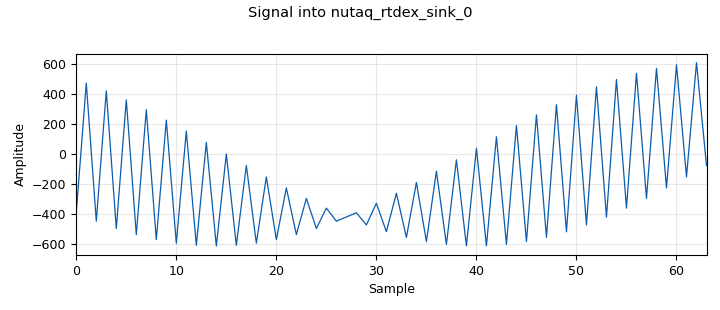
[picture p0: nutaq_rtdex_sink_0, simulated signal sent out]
<?xml version='1.0' encoding='utf-8'?>
<?grc format='1' created='3.7.8'?>
<flow_graph>
<block>
<key>options</key>
<param><key>id</key><value>wifi_tx_rx</value></param>
<param><key>category</key><value>Custom</value></param>
<param><key>generate_options</key><value>qt_gui</value></param>
<param><key>realtime_scheduling</key><value>1</value></param>
</block>
<block>
<key>variable</key>
<param><key>id</key><value>decimation</value></param>
<param><key>value</key><value>40</value></param>
</block>
<block>
<key>variable</key>
<param><key>id</key><value>freq</value></param>
<param><key>value</key><value>943e6</value></param>
</block>
<block>
<key>variable_qtgui_range</key>
<param><key>id</key><value>freq_sin</value></param>
<param><key>value</key><value>1000</value></param>
<param><key>orient</key><value>Qt.Horizontal</value></param>
<param><key>start</key><value>-2.5e5</value></param>
<param><key>step</key><value>500</value></param>
<param><key>stop</key><value>2.5e5</value></param>
</block>
<block>
<key>variable_slider</key>
<param><key>id</key><value>freq_sin</value></param>
<param><key>converver</key><value>float_converter</value></param>
<param><key>value</key><value>5000</value></param>
<param><key>_enabled</key><value>0</value></param>
<param><key>label</key><value>freq_sin</value></param>
<param><key>max</key><value>250e3</value></param>
<param><key>min</key><value>-250e3</value></param>
<param><key>num_steps</key><value>100</value></param>
<param><key>style</key><value>wx.SL_HORIZONTAL</value></param>
</block>
<block>
<key>variable</key>
<param><key>id</key><value>out_buf_size</value></param>
<param><key>value</key><value>96000</value></param>
</block>
<block>
<key>variable_qtgui_range</key>
<param><key>id</key><value>pdu_length</value></param>
<param><key>value</key><value>1000</value></param>
<param><key>orient</key><value>Qt.Horizontal</value></param>
<param><key>start</key><value>10</value></param>
<param><key>step</key><value>1</value></param>
<param><key>stop</key><value>1500</value></param>
<param><key>rangeType</key><value>int</value></param>
</block>
<block>
<key>variable_slider</key>
<param><key>id</key><value>pdu_length</value></param>
<param><key>converver</key><value>float_converter</value></param>
<param><key>value</key><value>500</value></param>
<param><key>_enabled</key><value>0</value></param>
<param><key>label</key><value>pdu_length</value></param>
<param><key>max</key><value>1500</value></param>
<param><key>min</key><value>200</value></param>
<param><key>num_steps</key><value>100</value></param>
<param><key>style</key><value>wx.SL_HORIZONTAL</value></param>
</block>
<block>
<key>variable_qtgui_range</key>
<param><key>id</key><value>period</value></param>
<param><key>value</key><value>50</value></param>
<param><key>orient</key><value>Qt.Horizontal</value></param>
<param><key>start</key><value>1</value></param>
<param><key>step</key><value>1</value></param>
<param><key>stop</key><value>10000</value></param>
</block>
<block>
<key>variable_slider</key>
<param><key>id</key><value>period</value></param>
<param><key>converver</key><value>float_converter</value></param>
<param><key>value</key><value>1000</value></param>
<param><key>_enabled</key><value>0</value></param>
<param><key>label</key><value>period</value></param>
<param><key>max</key><value>10000</value></param>
<param><key>min</key><value>20</value></param>
<param><key>num_steps</key><value>100</value></param>
<param><key>style</key><value>wx.SL_HORIZONTAL</value></param>
</block>
<block>
<key>variable</key>
<param><key>id</key><value>samp_rate</value></param>
<param><key>value</key><value>5e5</value></param>
</block>
<block>
<key>variable</key>
<param><key>id</key><value>sync_length</value></param>
<param><key>value</key><value>320</value></param>
</block>
<block>
<key>variable</key>
<param><key>id</key><value>threshold</value></param>
<param><key>value</key><value>1000</value></param>
</block>
<block>
<key>variable</key>
<param><key>id</key><value>window_size</value></param>
<param><key>value</key><value>48</value></param>
</block>
<block>
<key>COWN_resta</key>
<param><key>id</key><value>COWN_resta_0</value></param>
<param><key>affinity</key><value>1</value></param>
</block>
<block>
<key>COWN_syncher2</key>
<param><key>id</key><value>COWN_syncher2_0</value></param>
<param><key>affinity</key><value>1</value></param>
</block>
<block>
<key>COWN_tag_generator</key>
<param><key>id</key><value>COWN_tag_generator_0</value></param>
<param><key>_enabled</key><value>0</value></param>
</block>
<block>
<key>analog_noise_source_x</key>
<param><key>id</key><value>analog_noise_source_x_0</value></param>
<param><key>amp</key><value>1e-7</value></param>
<param><key>_enabled</key><value>0</value></param>
<param><key>minoutbuf</key><value>2**15</value></param>
<param><key>noise_type</key><value>analog.GR_GAUSSIAN</value></param>
<param><key>type</key><value>complex</value></param>
<param><key>seed</key><value>56547</value></param>
</block>
<block>
<key>analog_sig_source_x</key>
<param><key>id</key><value>analog_sig_source_x_0</value></param>
<param><key>amp</key><value>0.5</value></param>
<param><key>affinity</key><value>7</value></param>
<param><key>_enabled</key><value>0</value></param>
<param><key>freq</key><value>freq_sin</value></param>
<param><key>offset</key><value>0</value></param>
<param><key>type</key><value>complex</value></param>
<param><key>samp_rate</key><value>samp_rate</value></param>
<param><key>waveform</key><value>analog.GR_COS_WAVE</value></param>
</block>
<block>
<key>analog_sig_source_x</key>
<param><key>id</key><value>analog_sig_source_x_1</value></param>
<param><key>amp</key><value>0.3</value></param>
<param><key>affinity</key><value>3</value></param>
<param><key>freq</key><value>10000</value></param>
<param><key>offset</key><value>0</value></param>
<param><key>type</key><value>complex</value></param>
<param><key>samp_rate</key><value>samp_rate</value></param>
<param><key>waveform</key><value>analog.GR_COS_WAVE</value></param>
</block>
<block>
<key>blocks_add_xx</key>
<param><key>id</key><value>blocks_add_xx_0</value></param>
<param><key>_enabled</key><value>0</value></param>
<param><key>type</key><value>complex</value></param>
</block>
<block>
<key>blocks_add_xx</key>
<param><key>id</key><value>blocks_add_xx_1</value></param>
<param><key>_enabled</key><value>0</value></param>
<param><key>type</key><value>complex</value></param>
<param><key>minoutbuf</key><value>2**15</value></param>
</block>
<block>
<key>blocks_complex_to_float</key>
<param><key>id</key><value>blocks_complex_to_float_0</value></param>
<param><key>affinity</key><value>3</value></param>
<param><key>minoutbuf</key><value>2**14</value></param>
</block>
<block>
<key>blocks_complex_to_mag</key>
<param><key>id</key><value>blocks_complex_to_mag_0</value></param>
<param><key>affinity</key><value>4</value></param>
<param><key>_enabled</key><value>0</value></param>
<param><key>minoutbuf</key><value>out_buf_size</value></param>
</block>
<block>
<key>blocks_complex_to_mag_squared</key>
<param><key>id</key><value>blocks_complex_to_mag_squared_0</value></param>
<param><key>affinity</key><value>4</value></param>
<param><key>_enabled</key><value>0</value></param>
<param><key>minoutbuf</key><value>out_buf_size</value></param>
</block>
<block>
<key>blocks_conjugate_cc</key>
<param><key>id</key><value>blocks_conjugate_cc_0</value></param>
<param><key>_enabled</key><value>0</value></param>
<param><key>minoutbuf</key><value>out_buf_size</value></param>
</block>
<block>
<key>blocks_deinterleave</key>
<param><key>id</key><value>blocks_deinterleave_0</value></param>
<param><key>affinity</key><value>1</value></param>
<param><key>type</key><value>int</value></param>
<param><key>minoutbuf</key><value>2**15</value></param>
<param><key>num_streams</key><value>4</value></param>
</block>
<block>
<key>blocks_delay</key>
<param><key>id</key><value>blocks_delay_0</value></param>
<param><key>affinity</key><value>4</value></param>
<param><key>delay</key><value>sync_length</value></param>
<param><key>_enabled</key><value>0</value></param>
<param><key>minoutbuf</key><value>out_buf_size</value></param>
<param><key>type</key><value>complex</value></param>
</block>
<block>
<key>blocks_delay</key>
<param><key>id</key><value>blocks_delay_0_0</value></param>
<param><key>affinity</key><value>4</value></param>
<param><key>delay</key><value>16</value></param>
<param><key>_enabled</key><value>0</value></param>
<param><key>minoutbuf</key><value>out_buf_size</value></param>
<param><key>type</key><value>complex</value></param>
</block>
<block>
<key>blocks_divide_xx</key>
<param><key>id</key><value>blocks_divide_xx_0</value></param>
<param><key>affinity</key><value>4</value></param>
<param><key>_enabled</key><value>0</value></param>
<param><key>type</key><value>float</value></param>
<param><key>minoutbuf</key><value>out_buf_size</value></param>
</block>
<block>
<key>blocks_file_sink</key>
<param><key>id</key><value>blocks_file_sink_0</value></param>
<param><key>_enabled</key><value>0</value></param>
<param><key>file</key><value>/home/juan/juan/COWN/waveforms/recorded_ideal_frames_20160114_v2.bin</value></param>
<param><key>type</key><value>complex</value></param>
</block>
<block>
<key>blocks_file_source</key>
<param><key>id</key><value>blocks_file_source_0_0</value></param>
<param><key>affinity</key><value>7</value></param>
<param><key>_enabled</key><value>0</value></param>
<param><key>file</key><value>/home/juan/cognitive/fornutaq/gr-ofdm_80211/examples/waveforms/fmcw_chirp_80pc.bin</value></param>
<param><key>maxoutbuf</key><value>2**19</value></param>
<param><key>minoutbuf</key><value>2**19</value></param>
<param><key>type</key><value>complex</value></param>
<param><key>repeat</key><value>True</value></param>
</block>
<block>
<key>blocks_file_source</key>
<param><key>id</key><value>blocks_file_source_0_1</value></param>
<param><key>_enabled</key><value>0</value></param>
<param><key>file</key><value>/home/juan/juan/COWN/waveforms/test_rerecorded_20151026.bin</value></param>
<param><key>type</key><value>complex</value></param>
<param><key>repeat</key><value>True</value></param>
</block>
<block>
<key>blocks_file_source</key>
<param><key>id</key><value>blocks_file_source_0_1_0</value></param>
<param><key>_enabled</key><value>0</value></param>
<param><key>file</key><value>/home/juan/juan/COWN/waveforms/recorded_ideal_frames_20160114_v2.bin</value></param>
<param><key>minoutbuf</key><value>2**15</value></param>
<param><key>type</key><value>complex</value></param>
<param><key>repeat</key><value>True</value></param>
</block>
<block>
<key>blocks_file_source</key>
<param><key>id</key><value>blocks_file_source_0_1_1</value></param>
<param><key>_enabled</key><value>0</value></param>
<param><key>file</key><value>/home/juan/juan/COWN/waveforms/80211waveform_decim_20151016.bin</value></param>
<param><key>type</key><value>complex</value></param>
<param><key>repeat</key><value>True</value></param>
</block>
<block>
<key>blocks_float_to_complex</key>
<param><key>id</key><value>blocks_float_to_complex_0</value></param>
<param><key>affinity</key><value>2</value></param>
</block>
<block>
<key>blocks_float_to_short</key>
<param><key>id</key><value>blocks_float_to_short_0_0</value></param>
<param><key>affinity</key><value>3</value></param>
<param><key>scale</key><value>2**11-1</value></param>
</block>
<block>
<key>blocks_float_to_short</key>
<param><key>id</key><value>blocks_float_to_short_0_0_0</value></param>
<param><key>affinity</key><value>3</value></param>
<param><key>scale</key><value>2**11-1</value></param>
</block>
<block>
<key>blocks_interleave</key>
<param><key>id</key><value>blocks_interleave_0</value></param>
<param><key>affinity</key><value>3</value></param>
<param><key>type</key><value>short</value></param>
</block>
<block>
<key>blocks_message_strobe</key>
<param><key>id</key><value>blocks_message_strobe_0_0</value></param>
<param><key>affinity</key><value>3</value></param>
<param><key>msg</key><value>pmt.intern("".join("x" for i in range(pdu_length)) + "1234")</value></param>
<param><key>minoutbuf</key><value>out_buf_size</value></param>
<param><key>period</key><value>period</value></param>
</block>
<block>
<key>blocks_message_strobe</key>
<param><key>id</key><value>blocks_message_strobe_0_0_0</value></param>
<param><key>affinity</key><value>3</value></param>
<param><key>_enabled</key><value>0</value></param>
<param><key>msg</key><value>pmt.intern("".join("x" for i in range(pdu_length)) + "1234")</value></param>
<param><key>minoutbuf</key><value>2**17</value></param>
<param><key>period</key><value>period</value></param>
</block>
<block>
<key>blocks_multiply_const_vxx</key>
<param><key>id</key><value>blocks_multiply_const_vxx_0</value></param>
<param><key>const</key><value>1e-1</value></param>
<param><key>_enabled</key><value>0</value></param>
<param><key>type</key><value>complex</value></param>
</block>
<block>
<key>blocks_multiply_const_vxx</key>
<param><key>id</key><value>blocks_multiply_const_vxx_0_0</value></param>
<param><key>const</key><value>.4</value></param>
<param><key>_enabled</key><value>0</value></param>
<param><key>type</key><value>complex</value></param>
<param><key>minoutbuf</key><value>2**15</value></param>
</block>
<block>
<key>blocks_multiply_const_vxx</key>
<param><key>id</key><value>blocks_multiply_const_vxx_0_0_0</value></param>
<param><key>const</key><value>.4</value></param>
<param><key>_enabled</key><value>0</value></param>
<param><key>type</key><value>complex</value></param>
<param><key>minoutbuf</key><value>2**15</value></param>
</block>
<block>
<key>blocks_multiply_xx</key>
<param><key>id</key><value>blocks_multiply_xx_0</value></param>
<param><key>affinity</key><value>4</value></param>
<param><key>_enabled</key><value>0</value></param>
<param><key>type</key><value>complex</value></param>
<param><key>minoutbuf</key><value>out_buf_size</value></param>
</block>
<block>
<key>blocks_null_sink</key>
<param><key>id</key><value>blocks_null_sink_0</value></param>
<param><key>bus_conns</key><value>[[0,],]</value></param>
<param><key>type</key><value>float</value></param>
</block>
<block>
<key>blocks_null_sink</key>
<param><key>id</key><value>blocks_null_sink_0_0</value></param>
<param><key>bus_conns</key><value>[[0,],]</value></param>
<param><key>type</key><value>int</value></param>
</block>
<block>
<key>blocks_null_sink</key>
<param><key>id</key><value>blocks_null_sink_0_1</value></param>
<param><key>bus_conns</key><value>[[0,],]</value></param>
<param><key>_enabled</key><value>0</value></param>
<param><key>type</key><value>float</value></param>
</block>
<block>
<key>blocks_null_sink</key>
<param><key>id</key><value>blocks_null_sink_1</value></param>
<param><key>bus_conns</key><value>[[0,],]</value></param>
<param><key>affinity</key><value>2</value></param>
<param><key>_enabled</key><value>0</value></param>
<param><key>type</key><value>complex</value></param>
</block>
<block>
<key>blocks_null_source</key>
<param><key>id</key><value>blocks_null_source_0</value></param>
<param><key>bus_conns</key><value>[[0,],]</value></param>
<param><key>_enabled</key><value>0</value></param>
<param><key>type</key><value>complex</value></param>
</block>
<block>
<key>blocks_pdu_to_tagged_stream</key>
<param><key>id</key><value>blocks_pdu_to_tagged_stream_0</value></param>
<param><key>affinity</key><value>5</value></param>
<param><key>_enabled</key><value>0</value></param>
<param><key>type</key><value>float</value></param>
<param><key>tag</key><value>packet_len</value></param>
<param><key>minoutbuf</key><value>out_buf_size</value></param>
</block>
<block>
<key>blocks_stream_to_vector</key>
<param><key>id</key><value>blocks_stream_to_vector_0</value></param>
<param><key>_enabled</key><value>0</value></param>
<param><key>type</key><value>complex</value></param>
<param><key>minoutbuf</key><value>out_buf_size</value></param>
<param><key>num_items</key><value>64</value></param>
</block>
<block>
<key>ofdm_80211_ofdm_sync_short</key>
<param><key>id</key><value>carajito</value></param>
<param><key>debug</key><value>False</value></param>
<param><key>_enabled</key><value>0</value></param>
<param><key>log</key><value>False</value></param>
<param><key>minoutbuf</key><value>2**17</value></param>
<param><key>min_plateau</key><value>2</value></param>
<param><key>threshold</key><value>threshold</value></param>
</block>
<block>
<key>parameter</key>
<param><key>id</key><value>chan_est</value></param>
<param><key>value</key><value>0</value></param>
</block>
<block>
<key>channels_channel_model</key>
<param><key>id</key><value>channels_channel_model_0</value></param>
<param><key>affinity</key><value>3</value></param>
<param><key>_enabled</key><value>0</value></param>
<param><key>epsilon</key><value>1.0</value></param>
<param><key>freq_offset</key><value>0</value></param>
<param><key>minoutbuf</key><value>out_buf_size</value></param>
<param><key>noise_voltage</key><value>1e-30</value></param>
<param><key>seed</key><value>0</value></param>
<param><key>taps</key><value>1.0</value></param>
</block>
<block>
<key>fft_vxx</key>
<param><key>id</key><value>fft_vxx_0</value></param>
<param><key>affinity</key><value>5</value></param>
<param><key>_enabled</key><value>0</value></param>
<param><key>fft_size</key><value>64</value></param>
<param><key>forward</key><value>True</value></param>
<param><key>type</key><value>complex</value></param>
<param><key>minoutbuf</key><value>out_buf_size</value></param>
<param><key>shift</key><value>True</value></param>
<param><key>window</key><value>window.rectangular(64)</value></param>
</block>
<block>
<key>foo_packet_pad2</key>
<param><key>id</key><value>foo_packet_pad2_0</value></param>
<param><key>affinity</key><value>3</value></param>
<param><key>debug</key><value>False</value></param>
<param><key>delay_sec</key><value>0.0001</value></param>
<param><key>delay</key><value>False</value></param>
<param><key>_enabled</key><value>0</value></param>
<param><key>minoutbuf</key><value>out_buf_size</value></param>
<param><key>pad_front</key><value>5000</value></param>
<param><key>pad_tail</key><value>5000</value></param>
</block>
<block>
<key>foo_packet_pad2</key>
<param><key>id</key><value>foo_packet_pad2_0_0</value></param>
<param><key>affinity</key><value>3</value></param>
<param><key>debug</key><value>False</value></param>
<param><key>delay_sec</key><value>0.01</value></param>
<param><key>delay</key><value>False</value></param>
<param><key>_enabled</key><value>0</value></param>
<param><key>minoutbuf</key><value>out_buf_size</value></param>
<param><key>pad_front</key><value>10000</value></param>
<param><key>pad_tail</key><value>10000</value></param>
</block>
<block>
<key>ieee802_11_moving_average_xx</key>
<param><key>id</key><value>ieee802_11_moving_average_xx_0</value></param>
<param><key>affinity</key><value>4</value></param>
<param><key>_enabled</key><value>0</value></param>
<param><key>length</key><value>window_size</value></param>
<param><key>minoutbuf</key><value>out_buf_size</value></param>
<param><key>type</key><value>complex</value></param>
</block>
<block>
<key>ieee802_11_moving_average_xx</key>
<param><key>id</key><value>ieee802_11_moving_average_xx_1</value></param>
<param><key>affinity</key><value>4</value></param>
<param><key>_enabled</key><value>0</value></param>
<param><key>length</key><value>window_size + 16</value></param>
<param><key>minoutbuf</key><value>out_buf_size</value></param>
<param><key>type</key><value>float</value></param>
</block>
<block>
<key>ieee802_11_ofdm_decode_mac</key>
<param><key>id</key><value>ieee802_11_ofdm_decode_mac_0</value></param>
<param><key>affinity</key><value>7</value></param>
<param><key>debug</key><value>False</value></param>
<param><key>_enabled</key><value>0</value></param>
<param><key>log</key><value>False</value></param>
<param><key>minoutbuf</key><value>out_buf_size</value></param>
</block>
<block>
<key>ieee802_11_ofdm_decode_signal</key>
<param><key>id</key><value>ieee802_11_ofdm_decode_signal_0</value></param>
<param><key>affinity</key><value>6</value></param>
<param><key>debug</key><value>False</value></param>
<param><key>_enabled</key><value>0</value></param>
<param><key>log</key><value>False</value></param>
<param><key>minoutbuf</key><value>out_buf_size</value></param>
</block>
<block>
<key>ieee802_11_ofdm_equalize_symbols</key>
<param><key>id</key><value>ieee802_11_ofdm_equalize_symbols_0</value></param>
<param><key>algo</key><value>chan_est</value></param>
<param><key>affinity</key><value>5</value></param>
<param><key>debug</key><value>False</value></param>
<param><key>_enabled</key><value>0</value></param>
<param><key>minoutbuf</key><value>out_buf_size</value></param>
</block>
<block>
<key>ieee802_11_ofdm_mac</key>
<param><key>id</key><value>ieee802_11_ofdm_mac_0</value></param>
<param><key>bss_mac</key><value>[0xff, 0xff, 0xff, 0xff, 0xff, 255]</value></param>
<param><key>affinity</key><value>3</value></param>
<param><key>dst_mac</key><value>[0x42, 0x42, 0x42, 0x42, 0x42, 0x42]</value></param>
<param><key>minoutbuf</key><value>out_buf_size</value></param>
<param><key>src_mac</key><value>[0x23, 0x23, 0x23, 0x23, 0x23, 0x23]</value></param>
</block>
<block>
<key>ieee802_11_ofdm_mac</key>
<param><key>id</key><value>ieee802_11_ofdm_mac_0_0</value></param>
<param><key>bss_mac</key><value>[0xff, 0xff, 0xff, 0xff, 0xff, 255]</value></param>
<param><key>affinity</key><value>3</value></param>
<param><key>dst_mac</key><value>[0x42, 0x42, 0x42, 0x42, 0x42, 0x42]</value></param>
<param><key>_enabled</key><value>0</value></param>
<param><key>minoutbuf</key><value>2**17</value></param>
<param><key>src_mac</key><value>[0x23, 0x23, 0x23, 0x23, 0x23, 0x23]</value></param>
</block>
<block>
<key>ieee802_11_ofdm_parse_mac</key>
<param><key>id</key><value>ieee802_11_ofdm_parse_mac_0</value></param>
<param><key>affinity</key><value>5</value></param>
<param><key>debug</key><value>False</value></param>
<param><key>_enabled</key><value>0</value></param>
<param><key>log</key><value>False</value></param>
<param><key>minoutbuf</key><value>out_buf_size</value></param>
</block>
<block>
<key>ieee802_11_ofdm_sync_long</key>
<param><key>id</key><value>ieee802_11_ofdm_sync_long_0</value></param>
<param><key>affinity</key><value>4</value></param>
<param><key>debug</key><value>False</value></param>
<param><key>_enabled</key><value>0</value></param>
<param><key>log</key><value>False</value></param>
<param><key>minoutbuf</key><value>out_buf_size</value></param>
<param><key>sync_length</key><value>sync_length</value></param>
</block>
<block>
<key>ieee802_11_ofdm_sync_short</key>
<param><key>id</key><value>ieee802_11_ofdm_sync_short_0</value></param>
<param><key>affinity</key><value>4</value></param>
<param><key>debug</key><value>False</value></param>
<param><key>_enabled</key><value>0</value></param>
<param><key>log</key><value>False</value></param>
<param><key>minoutbuf</key><value>out_buf_size</value></param>
<param><key>min_plateau</key><value>2</value></param>
<param><key>threshold</key><value>0.56</value></param>
</block>
<block>
<key>nutaq_carrier_perseus</key>
<param><key>id</key><value>nutaq_carrier_perseus_0</value></param>
<param><key>ip_addr</key><value>192.168.0.101</value></param>
</block>
<block>
<key>nutaq_custom_register</key>
<param><key>id</key><value>nutaq_custom_register_0</value></param>
<param><key>block_priority</key><value>4</value></param>
<param><key>index</key><value>1</value></param>
<param><key>value</key><value>3</value></param>
<param><key>target_id</key><value>nutaq_carrier_perseus_0</value></param>
<param><key>update_rate</key><value>1</value></param>
</block>
<block>
<key>nutaq_custom_register</key>
<param><key>id</key><value>nutaq_custom_register_0_0</value></param>
<param><key>block_priority</key><value>5</value></param>
<param><key>index</key><value>4</value></param>
<param><key>value</key><value>0</value></param>
<param><key>target_id</key><value>nutaq_carrier_perseus_0</value></param>
<param><key>update_rate</key><value>1</value></param>
</block>
<block>
<key>nutaq_custom_register</key>
<param><key>id</key><value>nutaq_custom_register_0_0_0</value></param>
<param><key>block_priority</key><value>5</value></param>
<param><key>index</key><value>6</value></param>
<param><key>value</key><value>600</value></param>
<param><key>target_id</key><value>nutaq_carrier_perseus_0</value></param>
<param><key>update_rate</key><value>1</value></param>
</block>
<block>
<key>nutaq_custom_register</key>
<param><key>id</key><value>nutaq_custom_register_0_0_1</value></param>
<param><key>block_priority</key><value>5</value></param>
<param><key>index</key><value>3</value></param>
<param><key>value</key><value>7</value></param>
<param><key>target_id</key><value>nutaq_carrier_perseus_0</value></param>
<param><key>update_rate</key><value>1</value></param>
</block>
<block>
<key>nutaq_custom_register</key>
<param><key>id</key><value>nutaq_custom_register_0_1</value></param>
<param><key>block_priority</key><value>4</value></param>
<param><key>index</key><value>2</value></param>
<param><key>value</key><value>0</value></param>
<param><key>target_id</key><value>nutaq_carrier_perseus_0</value></param>
<param><key>update_rate</key><value>1</value></param>
</block>
<block>
<key>nutaq_custom_register</key>
<param><key>id</key><value>nutaq_custom_register_0_2</value></param>
<param><key>block_priority</key><value>4</value></param>
<param><key>index</key><value>0</value></param>
<param><key>value</key><value>int((4e6)/samp_rate/40*(2**32))</value></param>
<param><key>target_id</key><value>nutaq_carrier_perseus_0</value></param>
<param><key>update_rate</key><value>1</value></param>
</block>
<block>
<key>nutaq_radio420_rx</key>
<param><key>id</key><value>nutaq_radio420_rx_0</value></param>
<param><key>calibrate</key><value>1</value></param>
<param><key>band</key><value>0</value></param>
<param><key>block_priority</key><value>1</value></param>
<param><key>selected_card</key><value>1</value></param>
<param><key>datarate</key><value>samp_rate*2*decimation</value></param>
<param><key>enable</key><value>1</value></param>
<param><key>pll_cpld_ctrl</key><value>0</value></param>
<param><key>rx_rf_filter</key><value>2</value></param>
<param><key>rx_gain_ctrl</key><value>0</value></param>
<param><key>rx_lna_gain</key><value>3</value></param>
<param><key>rx_lpf_bandwidth</key><value>2</value></param>
<param><key>rx_vga1_gain</key><value>3</value></param>
<param><key>rx_freq</key><value>943e6</value></param>
<param><key>rx_gain2</key><value>0</value></param>
<param><key>rx_gain3</key><value>3</value></param>
<param><key>rf_ctrl</key><value>0</value></param>
<param><key>ref_clk_ctrl</key><value>0</value></param>
<param><key>reference</key><value>0</value></param>
<param><key>target_id</key><value>nutaq_carrier_perseus_0</value></param>
<param><key>update_rate</key><value>1</value></param>
</block>
<block>
<key>nutaq_radio420_rx</key>
<param><key>id</key><value>nutaq_radio420_rx_0_0</value></param>
<param><key>calibrate</key><value>0</value></param>
<param><key>band</key><value>0</value></param>
<param><key>block_priority</key><value>3</value></param>
<param><key>selected_card</key><value>2</value></param>
<param><key>datarate</key><value>samp_rate*2*decimation</value></param>
<param><key>enable</key><value>1</value></param>
<param><key>_enabled</key><value>0</value></param>
<param><key>pll_cpld_ctrl</key><value>0</value></param>
<param><key>rx_rf_filter</key><value>2</value></param>
<param><key>rx_gain_ctrl</key><value>0</value></param>
<param><key>rx_lna_gain</key><value>3</value></param>
<param><key>rx_lpf_bandwidth</key><value>2</value></param>
<param><key>rx_vga1_gain</key><value>1</value></param>
<param><key>rx_freq</key><value>943e6</value></param>
<param><key>rx_gain2</key><value>0</value></param>
<param><key>rx_gain3</key><value>8</value></param>
<param><key>rf_ctrl</key><value>0</value></param>
<param><key>ref_clk_ctrl</key><value>0</value></param>
<param><key>reference</key><value>1</value></param>
<param><key>target_id</key><value>nutaq_carrier_perseus_0</value></param>
<param><key>update_rate</key><value>1</value></param>
</block>
<block>
<key>nutaq_radio420_tx</key>
<param><key>id</key><value>nutaq_radio420_tx_0_0</value></param>
<param><key>calibrate</key><value>0</value></param>
<param><key>band</key><value>0</value></param>
<param><key>block_priority</key><value>0</value></param>
<param><key>selected_card</key><value>1</value></param>
<param><key>datarate</key><value>samp_rate*2*decimation</value></param>
<param><key>enable</key><value>1</value></param>
<param><key>pll_cpld_ctrl</key><value>0</value></param>
<param><key>rf_ctrl</key><value>0</value></param>
<param><key>ref_clk_ctrl</key><value>0</value></param>
<param><key>reference</key><value>0</value></param>
<param><key>tx_gain_ctrl</key><value>0</value></param>
<param><key>tx_lpf_bandwidth</key><value>2</value></param>
<param><key>tx_vga1_gain</key><value>-15</value></param>
<param><key>tx_vga2_gain</key><value>5</value></param>
<param><key>tx_freq</key><value>943e6</value></param>
<param><key>tx_gain3</key><value>0</value></param>
<param><key>target_id</key><value>nutaq_carrier_perseus_0</value></param>
<param><key>update_rate</key><value>1</value></param>
</block>
<block>
<key>nutaq_radio420_tx</key>
<param><key>id</key><value>nutaq_radio420_tx_0_0_0</value></param>
<param><key>calibrate</key><value>0</value></param>
<param><key>band</key><value>0</value></param>
<param><key>block_priority</key><value>2</value></param>
<param><key>selected_card</key><value>2</value></param>
<param><key>datarate</key><value>samp_rate*2*decimation</value></param>
<param><key>enable</key><value>1</value></param>
<param><key>_enabled</key><value>0</value></param>
<param><key>pll_cpld_ctrl</key><value>0</value></param>
<param><key>rf_ctrl</key><value>0</value></param>
<param><key>ref_clk_ctrl</key><value>0</value></param>
<param><key>reference</key><value>1</value></param>
<param><key>tx_gain_ctrl</key><value>0</value></param>
<param><key>tx_lpf_bandwidth</key><value>2</value></param>
<param><key>tx_vga1_gain</key><value>-10</value></param>
<param><key>tx_vga2_gain</key><value>15</value></param>
<param><key>tx_freq</key><value>943e6</value></param>
<param><key>tx_gain3</key><value>3</value></param>
<param><key>target_id</key><value>nutaq_carrier_perseus_0</value></param>
<param><key>update_rate</key><value>1</value></param>
</block>
<block>
<key>nutaq_rtdex_sink</key>
<param><key>id</key><value>nutaq_rtdex_sink_0</value></param>
<param><key>block_priority</key><value>1</value></param>
<param><key>channels</key><value>0</value></param>
<param><key>affinity</key><value>3</value></param>
<param><key>type</key><value>short</value></param>
<param><key>media_type</key><value>0</value></param>
<param><key>num_chan</key><value>1</value></param>
<param><key>packet_size</key><value>8192</value></param>
<param><key>target_id</key><value>nutaq_carrier_perseus_0</value></param>
</block>
<block>
<key>nutaq_rtdex_source</key>
<param><key>id</key><value>nutaq_rtdex_source_0</value></param>
<param><key>block_priority</key><value>0</value></param>
<param><key>channels</key><value>0</value></param>
<param><key>affinity</key><value>1</value></param>
<param><key>media_type</key><value>0</value></param>
<param><key>num_chan</key><value>1</value></param>
<param><key>type</key><value>int</value></param>
<param><key>packet_size</key><value>8192</value></param>
<param><key>target_id</key><value>nutaq_carrier_perseus_0</value></param>
</block>
<block>
<key>ofdm_80211_short_MF_v2</key>
<param><key>id</key><value>ofdm_80211_short_MF_v2_0</value></param>
<param><key>_enabled</key><value>0</value></param>
<param><key>minoutbuf</key><value>2**17</value></param>
<param><key>Naver</key><value>160</value></param>
<param><key>Ndelay</key><value>16</value></param>
</block>
<block>
<key>qtgui_number_sink</key>
<param><key>id</key><value>qtgui_number_sink_0</value></param>
<param><key>avg</key><value>0.99</value></param>
<param><key>affinity</key><value>5</value></param>
<param><key>_enabled</key><value>0</value></param>
<param><key>graph_type</key><value>qtgui.NUM_GRAPH_HORIZ</value></param>
<param><key>type</key><value>float</value></param>
<param><key>max</key><value>100</value></param>
<param><key>min</key><value>0</value></param>
<param><key>name</key><value>Frame error Rata</value></param>
<param><key>update_time</key><value>0.0000010</value></param>
</block>
<block>
<key>qtgui_time_sink_x</key>
<param><key>id</key><value>qtgui_time_sink_x_0_0_0</value></param>
<param><key>autoscale</key><value>True</value></param>
<param><key>grid</key><value>True</value></param>
<param><key>color1</key><value>"blue"</value></param>
<param><key>label1</key><value>correlation I</value></param>
<param><key>color2</key><value>"red"</value></param>
<param><key>label2</key><value>correlation Q</value></param>
<param><key>size</key><value>2**13</value></param>
<param><key>srate</key><value>samp_rate</value></param>
<param><key>tr_delay</key><value>5e-3</value></param>
<param><key>tr_level</key><value>0.05</value></param>
<param><key>tr_mode</key><value>qtgui.TRIG_MODE_NORM</value></param>
<param><key>tr_tag</key><value>"FISTOR"</value></param>
<param><key>type</key><value>complex</value></param>
<param><key>update_time</key><value>1</value></param>
<param><key>ylabel</key><value>Division</value></param>
<param><key>ymax</key><value>1000</value></param>
<param><key>ymin</key><value>-0.1</value></param>
</block>
<block>
<key>qtgui_time_sink_x</key>
<param><key>id</key><value>qtgui_time_sink_x_0_0_0_1</value></param>
<param><key>autoscale</key><value>True</value></param>
<param><key>affinity</key><value>4</value></param>
<param><key>entags</key><value>False</value></param>
<param><key>_enabled</key><value>0</value></param>
<param><key>grid</key><value>True</value></param>
<param><key>color1</key><value>"blue"</value></param>
<param><key>label1</key><value>correlation I</value></param>
<param><key>size</key><value>2**14</value></param>
<param><key>srate</key><value>samp_rate</value></param>
<param><key>tr_delay</key><value>5e-3</value></param>
<param><key>tr_level</key><value>0.001</value></param>
<param><key>tr_mode</key><value>qtgui.TRIG_MODE_NORM</value></param>
<param><key>tr_tag</key><value>"FISTOR"</value></param>
<param><key>type</key><value>float</value></param>
<param><key>update_time</key><value>2</value></param>
<param><key>ylabel</key><value>SI soy yo</value></param>
<param><key>ymax</key><value>1000</value></param>
<param><key>ymin</key><value>-0.1</value></param>
</block>
<block>
<key>qtgui_time_sink_x</key>
<param><key>id</key><value>qtgui_time_sink_x_0_0_0_1_0</value></param>
<param><key>autoscale</key><value>True</value></param>
<param><key>entags</key><value>False</value></param>
<param><key>grid</key><value>True</value></param>
<param><key>color1</key><value>"blue"</value></param>
<param><key>label1</key><value>correlation I</value></param>
<param><key>color2</key><value>"red"</value></param>
<param><key>label2</key><value>correlation Q</value></param>
<param><key>size</key><value>2**13</value></param>
<param><key>srate</key><value>samp_rate</value></param>
<param><key>tr_delay</key><value>5e-3</value></param>
<param><key>tr_level</key><value>0.001</value></param>
<param><key>tr_mode</key><value>qtgui.TRIG_MODE_NORM</value></param>
<param><key>tr_tag</key><value>"FISTOR"</value></param>
<param><key>type</key><value>complex</value></param>
<param><key>ymax</key><value>1000</value></param>
<param><key>ymin</key><value>-0.1</value></param>
</block>
<block>
<key>qtgui_time_sink_x</key>
<param><key>id</key><value>qtgui_time_sink_x_0_0_0_1_1</value></param>
<param><key>autoscale</key><value>True</value></param>
<param><key>affinity</key><value>4</value></param>
<param><key>entags</key><value>False</value></param>
<param><key>_enabled</key><value>0</value></param>
<param><key>grid</key><value>True</value></param>
<param><key>color1</key><value>"blue"</value></param>
<param><key>label1</key><value>correlation I</value></param>
<param><key>size</key><value>2**14</value></param>
<param><key>srate</key><value>samp_rate</value></param>
<param><key>tr_delay</key><value>5e-3</value></param>
<param><key>tr_level</key><value>0.001</value></param>
<param><key>tr_mode</key><value>qtgui.TRIG_MODE_NORM</value></param>
<param><key>tr_tag</key><value>"FISTOR"</value></param>
<param><key>type</key><value>float</value></param>
<param><key>update_time</key><value>2</value></param>
<param><key>ylabel</key><value>SI soy yo</value></param>
<param><key>ymax</key><value>1000</value></param>
<param><key>ymin</key><value>-0.1</value></param>
</block>
<block>
<key>qtgui_time_sink_x</key>
<param><key>id</key><value>qtgui_time_sink_x_0_0_0_1_2</value></param>
<param><key>autoscale</key><value>True</value></param>
<param><key>affinity</key><value>4</value></param>
<param><key>entags</key><value>False</value></param>
<param><key>_enabled</key><value>0</value></param>
<param><key>grid</key><value>True</value></param>
<param><key>color1</key><value>"blue"</value></param>
<param><key>label1</key><value>correlation I</value></param>
<param><key>size</key><value>2**14</value></param>
<param><key>srate</key><value>samp_rate</value></param>
<param><key>tr_delay</key><value>5e-3</value></param>
<param><key>tr_level</key><value>0.001</value></param>
<param><key>tr_mode</key><value>qtgui.TRIG_MODE_NORM</value></param>
<param><key>tr_tag</key><value>"FISTOR"</value></param>
<param><key>type</key><value>float</value></param>
<param><key>update_time</key><value>2</value></param>
<param><key>ylabel</key><value>SI soy yo</value></param>
<param><key>ymax</key><value>1000</value></param>
<param><key>ymin</key><value>-0.1</value></param>
</block>
<block>
<key>qtgui_time_sink_x</key>
<param><key>id</key><value>qtgui_time_sink_x_2</value></param>
<param><key>affinity</key><value>5</value></param>
<param><key>_enabled</key><value>0</value></param>
<param><key>grid</key><value>True</value></param>
<param><key>color1</key><value>"blue"</value></param>
<param><key>label1</key><value>Packets Reveiced</value></param>
<param><key>size</key><value>64</value></param>
<param><key>srate</key><value>100</value></param>
<param><key>type</key><value>float</value></param>
<param><key>ymax</key><value>110</value></param>
</block>
<block>
<key>wifi_PHY_tx_hier</key>
<param><key>id</key><value>wifi_PHY_tx_hier_1</value></param>
<param><key>affinity</key><value>3</value></param>
<param><key>minoutbuf</key><value>out_buf_size</value></param>
<param><key>chan_est</key><value>1</value></param>
<param><key>encoding</key><value>ieee802_11.BPSK_1_2</value></param>
</block>
<block>
<key>wifi_PHY_tx_hier</key>
<param><key>id</key><value>wifi_PHY_tx_hier_1_0</value></param>
<param><key>_enabled</key><value>0</value></param>
<param><key>minoutbuf</key><value>2**17</value></param>
<param><key>chan_est</key><value>1</value></param>
<param><key>encoding</key><value>ieee802_11.BPSK_1_2</value></param>
</block>
<block>
<key>wxgui_scopesink2</key>
<param><key>id</key><value>wxgui_scopesink2_0</value></param>
<param><key>ac_couple</key><value>False</value></param>
<param><key>affinity</key><value>2</value></param>
<param><key>_enabled</key><value>0</value></param>
<param><key>grid_pos</key><value>1,1,1,1</value></param>
<param><key>num_inputs</key><value>1</value></param>
<param><key>samp_rate</key><value>samp_rate</value></param>
<param><key>t_scale</key><value>0</value></param>
<param><key>title</key><value>Scope Plot</value></param>
<param><key>trig_mode</key><value>wxgui.TRIG_MODE_AUTO</value></param>
<param><key>type</key><value>complex</value></param>
<param><key>v_offset</key><value>0</value></param>
<param><key>v_scale</key><value>0</value></param>
<param><key>win_size</key><value>700,700</value></param>
<param><key>xy_mode</key><value>False</value></param>
<param><key>y_axis_label</key><value>Counts</value></param>
</block>
<block>
<key>wxgui_scopesink2</key>
<param><key>id</key><value>wxgui_scopesink2_0_0_0</value></param>
<param><key>ac_couple</key><value>False</value></param>
<param><key>affinity</key><value>5</value></param>
<param><key>_enabled</key><value>0</value></param>
<param><key>grid_pos</key><value>2,1,1,1</value></param>
<param><key>num_inputs</key><value>1</value></param>
<param><key>samp_rate</key><value>samp_rate</value></param>
<param><key>t_scale</key><value>0</value></param>
<param><key>title</key><value>Scope Plot</value></param>
<param><key>trig_mode</key><value>wxgui.TRIG_MODE_AUTO</value></param>
<param><key>type</key><value>float</value></param>
<param><key>v_offset</key><value>0</value></param>
<param><key>v_scale</key><value>0</value></param>
<param><key>win_size</key><value>500,500</value></param>
<param><key>xy_mode</key><value>False</value></param>
<param><key>y_axis_label</key><value>Counts</value></param>
</block>
<block>
<key>wxgui_scopesink2</key>
<param><key>id</key><value>wxgui_scopesink2_0_0_0_0</value></param>
<param><key>ac_couple</key><value>False</value></param>
<param><key>affinity</key><value>5</value></param>
<param><key>_enabled</key><value>0</value></param>
<param><key>grid_pos</key><value>2,2,1,1</value></param>
<param><key>num_inputs</key><value>1</value></param>
<param><key>samp_rate</key><value>samp_rate</value></param>
<param><key>t_scale</key><value>0</value></param>
<param><key>title</key><value>Scope Plot</value></param>
<param><key>trig_mode</key><value>wxgui.TRIG_MODE_AUTO</value></param>
<param><key>type</key><value>float</value></param>
<param><key>v_offset</key><value>0</value></param>
<param><key>v_scale</key><value>0</value></param>
<param><key>win_size</key><value>500,500</value></param>
<param><key>xy_mode</key><value>False</value></param>
<param><key>y_axis_label</key><value>Counts</value></param>
</block>
<connection><source_block_id>COWN_resta_0</source_block_id><sink_block_id>blocks_null_sink_0_0</sink_block_id><source_key>0</source_key><sink_key>0</sink_key></connection>
<connection><source_block_id>COWN_syncher2_0</source_block_id><sink_block_id>COWN_tag_generator_0</sink_block_id><source_key>0</source_key><sink_key>0</sink_key></connection>
<connection><source_block_id>COWN_syncher2_0</source_block_id><sink_block_id>blocks_deinterleave_0</sink_block_id><source_key>0</source_key><sink_key>0</sink_key></connection>
<connection><source_block_id>analog_noise_source_x_0</source_block_id><sink_block_id>blocks_add_xx_1</sink_block_id><source_key>0</source_key><sink_key>1</sink_key></connection>
<connection><source_block_id>analog_sig_source_x_0</source_block_id><sink_block_id>blocks_complex_to_float_0</sink_block_id><source_key>0</source_key><sink_key>0</sink_key></connection>
<connection><source_block_id>analog_sig_source_x_1</source_block_id><sink_block_id>blocks_complex_to_float_0</sink_block_id><source_key>0</source_key><sink_key>0</sink_key></connection>
<connection><source_block_id>analog_sig_source_x_1</source_block_id><sink_block_id>blocks_multiply_const_vxx_0</sink_block_id><source_key>0</source_key><sink_key>0</sink_key></connection>
<connection><source_block_id>blocks_add_xx_0</source_block_id><sink_block_id>blocks_complex_to_float_0</sink_block_id><source_key>0</source_key><sink_key>0</sink_key></connection>
<connection><source_block_id>blocks_complex_to_float_0</source_block_id><sink_block_id>blocks_float_to_short_0_0_0</sink_block_id><source_key>1</source_key><sink_key>0</sink_key></connection>
<connection><source_block_id>blocks_complex_to_float_0</source_block_id><sink_block_id>blocks_float_to_short_0_0</sink_block_id><source_key>0</source_key><sink_key>0</sink_key></connection>
<connection><source_block_id>blocks_complex_to_mag_0</source_block_id><sink_block_id>blocks_divide_xx_0</sink_block_id><source_key>0</source_key><sink_key>0</sink_key></connection>
<connection><source_block_id>blocks_complex_to_mag_squared_0</source_block_id><sink_block_id>ieee802_11_moving_average_xx_1</sink_block_id><source_key>0</source_key><sink_key>0</sink_key></connection>
<connection><source_block_id>blocks_conjugate_cc_0</source_block_id><sink_block_id>blocks_multiply_xx_0</sink_block_id><source_key>0</source_key><sink_key>1</sink_key></connection>
<connection><source_block_id>blocks_deinterleave_0</source_block_id><sink_block_id>blocks_null_sink_0</sink_block_id><source_key>0</source_key><sink_key>0</sink_key></connection>
<connection><source_block_id>blocks_deinterleave_0</source_block_id><sink_block_id>wxgui_scopesink2_0_0_0_0</sink_block_id><source_key>0</source_key><sink_key>0</sink_key></connection>
<connection><source_block_id>blocks_deinterleave_0</source_block_id><sink_block_id>blocks_float_to_complex_0</sink_block_id><source_key>1</source_key><sink_key>0</sink_key></connection>
<connection><source_block_id>blocks_deinterleave_0</source_block_id><sink_block_id>qtgui_time_sink_x_0_0_0_1_1</sink_block_id><source_key>1</source_key><sink_key>0</sink_key></connection>
<connection><source_block_id>blocks_deinterleave_0</source_block_id><sink_block_id>blocks_float_to_complex_0</sink_block_id><source_key>2</source_key><sink_key>1</sink_key></connection>
<connection><source_block_id>blocks_deinterleave_0</source_block_id><sink_block_id>qtgui_time_sink_x_0_0_0_1</sink_block_id><source_key>2</source_key><sink_key>0</sink_key></connection>
<connection><source_block_id>blocks_deinterleave_0</source_block_id><sink_block_id>COWN_resta_0</sink_block_id><source_key>3</source_key><sink_key>0</sink_key></connection>
<connection><source_block_id>blocks_deinterleave_0</source_block_id><sink_block_id>qtgui_time_sink_x_0_0_0_1_2</sink_block_id><source_key>3</source_key><sink_key>0</sink_key></connection>
<connection><source_block_id>blocks_delay_0</source_block_id><sink_block_id>ieee802_11_ofdm_sync_long_0</sink_block_id><source_key>0</source_key><sink_key>1</sink_key></connection>
<connection><source_block_id>blocks_delay_0_0</source_block_id><sink_block_id>blocks_conjugate_cc_0</sink_block_id><source_key>0</source_key><sink_key>0</sink_key></connection>
<connection><source_block_id>blocks_delay_0_0</source_block_id><sink_block_id>ieee802_11_ofdm_sync_short_0</sink_block_id><source_key>0</source_key><sink_key>0</sink_key></connection>
<connection><source_block_id>blocks_divide_xx_0</source_block_id><sink_block_id>ieee802_11_ofdm_sync_short_0</sink_block_id><source_key>0</source_key><sink_key>2</sink_key></connection>
<connection><source_block_id>blocks_file_source_0_0</source_block_id><sink_block_id>blocks_complex_to_float_0</sink_block_id><source_key>0</source_key><sink_key>0</sink_key></connection>
<connection><source_block_id>blocks_file_source_0_0</source_block_id><sink_block_id>blocks_multiply_const_vxx_0_0_0</sink_block_id><source_key>0</source_key><sink_key>0</sink_key></connection>
<connection><source_block_id>blocks_file_source_0_1</source_block_id><sink_block_id>blocks_complex_to_float_0</sink_block_id><source_key>0</source_key><sink_key>0</sink_key></connection>
<connection><source_block_id>blocks_file_source_0_1_0</source_block_id><sink_block_id>blocks_multiply_const_vxx_0_0</sink_block_id><source_key>0</source_key><sink_key>0</sink_key></connection>
<connection><source_block_id>blocks_file_source_0_1_1</source_block_id><sink_block_id>blocks_multiply_const_vxx_0_0</sink_block_id><source_key>0</source_key><sink_key>0</sink_key></connection>
<connection><source_block_id>blocks_float_to_complex_0</source_block_id><sink_block_id>blocks_null_sink_1</sink_block_id><source_key>0</source_key><sink_key>0</sink_key></connection>
<connection><source_block_id>blocks_float_to_complex_0</source_block_id><sink_block_id>qtgui_time_sink_x_0_0_0</sink_block_id><source_key>0</source_key><sink_key>0</sink_key></connection>
<connection><source_block_id>blocks_float_to_complex_0</source_block_id><sink_block_id>wxgui_scopesink2_0</sink_block_id><source_key>0</source_key><sink_key>0</sink_key></connection>
<connection><source_block_id>blocks_float_to_short_0_0</source_block_id><sink_block_id>blocks_interleave_0</sink_block_id><source_key>0</source_key><sink_key>0</sink_key></connection>
<connection><source_block_id>blocks_float_to_short_0_0_0</source_block_id><sink_block_id>blocks_interleave_0</sink_block_id><source_key>0</source_key><sink_key>1</sink_key></connection>
<connection><source_block_id>blocks_interleave_0</source_block_id><sink_block_id>nutaq_rtdex_sink_0</sink_block_id><source_key>0</source_key><sink_key>0</sink_key></connection>
<connection><source_block_id>blocks_message_strobe_0_0</source_block_id><sink_block_id>ieee802_11_ofdm_mac_0</sink_block_id><source_key>strobe</source_key><sink_key>app in</sink_key></connection>
<connection><source_block_id>blocks_message_strobe_0_0_0</source_block_id><sink_block_id>ieee802_11_ofdm_mac_0_0</sink_block_id><source_key>strobe</source_key><sink_key>app in</sink_key></connection>
<connection><source_block_id>blocks_multiply_const_vxx_0</source_block_id><sink_block_id>blocks_add_xx_0</sink_block_id><source_key>0</source_key><sink_key>0</sink_key></connection>
<connection><source_block_id>blocks_multiply_const_vxx_0_0</source_block_id><sink_block_id>blocks_add_xx_1</sink_block_id><source_key>0</source_key><sink_key>0</sink_key></connection>
<connection><source_block_id>blocks_multiply_const_vxx_0_0_0</source_block_id><sink_block_id>blocks_complex_to_float_0</sink_block_id><source_key>0</source_key><sink_key>0</sink_key></connection>
<connection><source_block_id>blocks_multiply_xx_0</source_block_id><sink_block_id>ieee802_11_moving_average_xx_0</sink_block_id><source_key>0</source_key><sink_key>0</sink_key></connection>
<connection><source_block_id>blocks_pdu_to_tagged_stream_0</source_block_id><sink_block_id>qtgui_number_sink_0</sink_block_id><source_key>0</source_key><sink_key>0</sink_key></connection>
<connection><source_block_id>blocks_pdu_to_tagged_stream_0</source_block_id><sink_block_id>qtgui_time_sink_x_2</sink_block_id><source_key>0</source_key><sink_key>0</sink_key></connection>
<connection><source_block_id>blocks_stream_to_vector_0</source_block_id><sink_block_id>fft_vxx_0</sink_block_id><source_key>0</source_key><sink_key>0</sink_key></connection>
<connection><source_block_id>carajito</source_block_id><sink_block_id>blocks_delay_0</sink_block_id><source_key>0</source_key><sink_key>0</sink_key></connection>
<connection><source_block_id>carajito</source_block_id><sink_block_id>ieee802_11_ofdm_sync_long_0</sink_block_id><source_key>0</source_key><sink_key>0</sink_key></connection>
<connection><source_block_id>channels_channel_model_0</source_block_id><sink_block_id>blocks_complex_to_mag_squared_0</sink_block_id><source_key>0</source_key><sink_key>0</sink_key></connection>
<connection><source_block_id>channels_channel_model_0</source_block_id><sink_block_id>blocks_delay_0_0</sink_block_id><source_key>0</source_key><sink_key>0</sink_key></connection>
<connection><source_block_id>channels_channel_model_0</source_block_id><sink_block_id>blocks_multiply_xx_0</sink_block_id><source_key>0</source_key><sink_key>0</sink_key></connection>
<connection><source_block_id>fft_vxx_0</source_block_id><sink_block_id>ieee802_11_ofdm_equalize_symbols_0</sink_block_id><source_key>0</source_key><sink_key>0</sink_key></connection>
<connection><source_block_id>foo_packet_pad2_0</source_block_id><sink_block_id>blocks_file_sink_0</sink_block_id><source_key>0</source_key><sink_key>0</sink_key></connection>
<connection><source_block_id>foo_packet_pad2_0</source_block_id><sink_block_id>qtgui_time_sink_x_0_0_0_1_0</sink_block_id><source_key>0</source_key><sink_key>0</sink_key></connection>
<connection><source_block_id>foo_packet_pad2_0_0</source_block_id><sink_block_id>channels_channel_model_0</sink_block_id><source_key>0</source_key><sink_key>0</sink_key></connection>
<connection><source_block_id>ieee802_11_moving_average_xx_0</source_block_id><sink_block_id>blocks_complex_to_mag_0</sink_block_id><source_key>0</source_key><sink_key>0</sink_key></connection>
<connection><source_block_id>ieee802_11_moving_average_xx_0</source_block_id><sink_block_id>ieee802_11_ofdm_sync_short_0</sink_block_id><source_key>0</source_key><sink_key>1</sink_key></connection>
<connection><source_block_id>ieee802_11_moving_average_xx_1</source_block_id><sink_block_id>blocks_divide_xx_0</sink_block_id><source_key>0</source_key><sink_key>1</sink_key></connection>
<connection><source_block_id>ieee802_11_ofdm_decode_mac_0</source_block_id><sink_block_id>ieee802_11_ofdm_parse_mac_0</sink_block_id><source_key>out</source_key><sink_key>in</sink_key></connection>
<connection><source_block_id>ieee802_11_ofdm_decode_signal_0</source_block_id><sink_block_id>ieee802_11_ofdm_decode_mac_0</sink_block_id><source_key>0</source_key><sink_key>0</sink_key></connection>
<connection><source_block_id>ieee802_11_ofdm_equalize_symbols_0</source_block_id><sink_block_id>ieee802_11_ofdm_decode_signal_0</sink_block_id><source_key>0</source_key><sink_key>0</sink_key></connection>
<connection><source_block_id>ieee802_11_ofdm_mac_0</source_block_id><sink_block_id>wifi_PHY_tx_hier_1</sink_block_id><source_key>phy out</source_key><sink_key>mac_in</sink_key></connection>
<connection><source_block_id>ieee802_11_ofdm_mac_0_0</source_block_id><sink_block_id>wifi_PHY_tx_hier_1_0</sink_block_id><source_key>phy out</source_key><sink_key>mac_in</sink_key></connection>
<connection><source_block_id>ieee802_11_ofdm_parse_mac_0</source_block_id><sink_block_id>blocks_pdu_to_tagged_stream_0</sink_block_id><source_key>fer</source_key><sink_key>pdus</sink_key></connection>
<connection><source_block_id>ieee802_11_ofdm_sync_long_0</source_block_id><sink_block_id>blocks_stream_to_vector_0</sink_block_id><source_key>0</source_key><sink_key>0</sink_key></connection>
<connection><source_block_id>ieee802_11_ofdm_sync_short_0</source_block_id><sink_block_id>blocks_delay_0</sink_block_id><source_key>0</source_key><sink_key>0</sink_key></connection>
<connection><source_block_id>ieee802_11_ofdm_sync_short_0</source_block_id><sink_block_id>ieee802_11_ofdm_sync_long_0</sink_block_id><source_key>0</source_key><sink_key>0</sink_key></connection>
<connection><source_block_id>nutaq_rtdex_source_0</source_block_id><sink_block_id>COWN_syncher2_0</sink_block_id><source_key>0</source_key><sink_key>0</sink_key></connection>
<connection><source_block_id>ofdm_80211_short_MF_v2_0</source_block_id><sink_block_id>carajito</sink_block_id><source_key>1</source_key><sink_key>1</sink_key></connection>
<connection><source_block_id>ofdm_80211_short_MF_v2_0</source_block_id><sink_block_id>carajito</sink_block_id><source_key>3</source_key><sink_key>2</sink_key></connection>
<connection><source_block_id>ofdm_80211_short_MF_v2_0</source_block_id><sink_block_id>blocks_null_sink_0_1</sink_block_id><source_key>2</source_key><sink_key>0</sink_key></connection>
<connection><source_block_id>ofdm_80211_short_MF_v2_0</source_block_id><sink_block_id>carajito</sink_block_id><source_key>0</source_key><sink_key>0</sink_key></connection>
<connection><source_block_id>wifi_PHY_tx_hier_1</source_block_id><sink_block_id>foo_packet_pad2_0</sink_block_id><source_key>0</source_key><sink_key>0</sink_key></connection>
<connection><source_block_id>wifi_PHY_tx_hier_1</source_block_id><sink_block_id>qtgui_time_sink_x_0_0_0_1_0</sink_block_id><source_key>0</source_key><sink_key>0</sink_key></connection>
<connection><source_block_id>wifi_PHY_tx_hier_1_0</source_block_id><sink_block_id>foo_packet_pad2_0_0</sink_block_id><source_key>0</source_key><sink_key>0</sink_key></connection>
</flow_graph>
